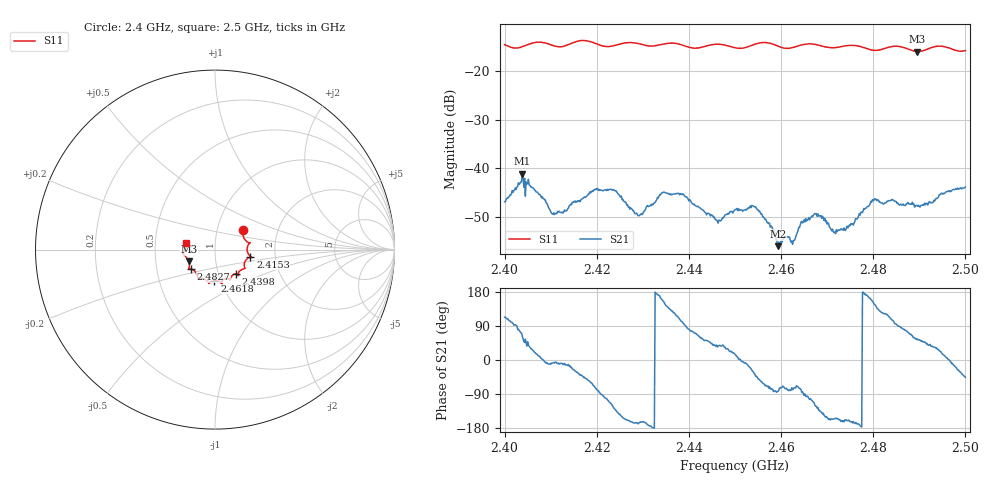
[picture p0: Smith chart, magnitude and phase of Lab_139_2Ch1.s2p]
# Hz S RI R 50
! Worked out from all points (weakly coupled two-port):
!   601 points, 2.4 GHz to 2.5 GHz, reference 50 ohm
!   highest |S21| = -41.07 dB at 2.4038 GHz (marker M1); lowest = -56.0 dB at 2.4593 GHz (marker M2)
!   lowest |S11| = -15.9 dB at 2.4895 GHz (marker M3), VSWR 1.38, Z = 37 - j5.02 ohm
!   |S11| at or under -10 dB: start of sweep to end of sweep
!   S12 and S22 are empty: the file has one direction only
!   S11 on the Smith chart (normalised r, x): 2.4 GHz: 1.33, +0.29; 2.4153 GHz: 1.49, -0.12; 2.4398 GHz: 1.21, -0.34; 2.4618 GHz: 0.94, -0.33; 2.4827 GHz: 0.75, -0.17; 2.5 GHz: 0.72, +0.06
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2.4e9  0.1549 0.1068  -0.00175 0.00418  0 0  0 0
2.403833e9  0.1725 0.0491  0.00396 0.00791  0 0  0 0
2.4105e9  0.1829 0.0216  0.00333 -0.000456  0 0  0 0
2.415333e9  0.1972 -0.0392  0.00403 -0.00227  0 0  0 0
2.416667e9  0.2029 -0.0433  0.00366 -0.00308  0 0  0 0
2.4235e9  0.1627 -0.083  -0.00323 -0.00509  0 0  0 0
2.429333e9  0.1587 -0.1076  -0.00317 -0.000885  0 0  0 0
2.433333e9  0.1294 -0.1337  -0.00489 0.000696  0 0  0 0
2.439833e9  0.1152 -0.1354  0.000659 0.00477  0 0  0 0
2.446333e9  0.0849 -0.1702  0.00219 0.00163  0 0  0 0
2.45e9  0.0657 -0.1621  0.00363 0.000976  0 0  0 0
2.4545e9  0.0359 -0.1878  0.00293 -0.00274  0 0  0 0
2.459333e9  0.028 -0.1795  0.000205 -0.00157  0 0  0 0
2.461833e9  -0.00322 -0.1729  0.000384 -0.00192  0 0  0 0
2.466667e9  -0.0349 -0.1883  -0.000916 -0.00309  0 0  0 0
2.471833e9  -0.0686 -0.1617  -0.00192 -0.000907  0 0  0 0
2.4755e9  -0.0946 -0.1593  -0.00261 -0.000655  0 0  0 0
2.48e9  -0.11 -0.1228  -0.0041 0.00217  0 0  0 0
2.482667e9  -0.1348 -0.1084  -0.00234 0.00374  0 0  0 0
2.483333e9  -0.14 -0.108  -0.002 0.00419  0 0  0 0
2.4895e9  -0.1456 -0.0661  0.00234 0.00344  0 0  0 0
2.5e9  -0.1591 0.0385  0.00451 -0.0046  0 0  0 0
